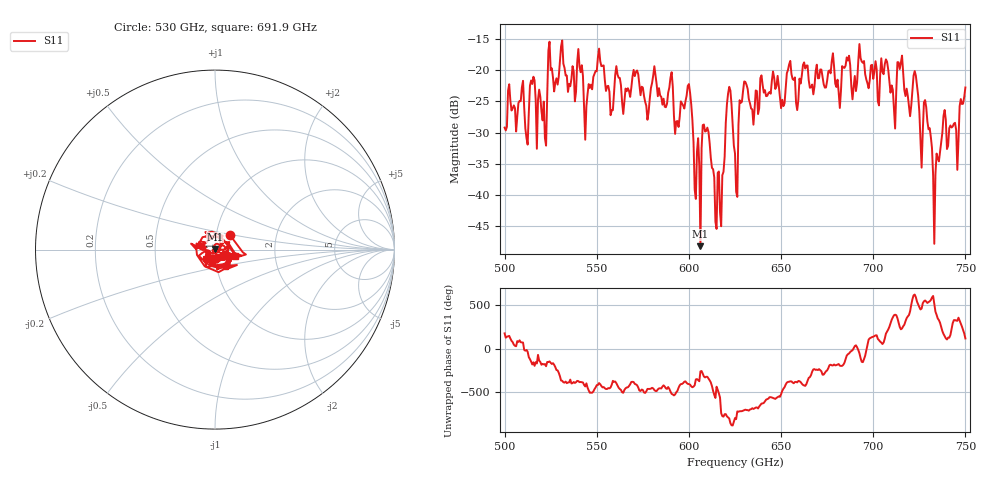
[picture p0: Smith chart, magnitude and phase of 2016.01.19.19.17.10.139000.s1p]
!Created with skrf (http://scikit-rf.org).
# GHz S RI R 50.0
!freq ReS11 ImS11
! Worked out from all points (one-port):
!   401 points, 500 GHz to 750 GHz, reference 50 ohm
!   lowest |S11| = -48.3 dB at 606.2 GHz (marker M1), VSWR 1.01, Z = 49.9 + j0.38 ohm
!   |S11| at or under -10 dB: start of sweep to end of sweep
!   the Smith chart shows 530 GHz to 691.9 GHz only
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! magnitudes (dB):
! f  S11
! 500 GHz  -29.2
! 508.8 GHz  -25.0
! 511.9 GHz  -30.9
! 515 GHz  -22.2
! 521.2 GHz  -25.0
! 524.4 GHz  -15.4
! 531.2 GHz  -15.2
! 544.4 GHz  -25.8
! 551.9 GHz  -18.5
! 562.5 GHz  -21.2
! 590 GHz  -21.2
! 593.8 GHz  -28.1
! 600 GHz  -22.2
! 606.2 GHz  -48.3
! 609.4 GHz  -29.8
! 616.2 GHz  -36.3
! 621.9 GHz  -22.6
! 625 GHz  -33.4
! 630.6 GHz  -21.9
! 656.2 GHz  -21.4
! 687.5 GHz  -19.2
! 710.6 GHz  -23.1
! 714.4 GHz  -19.8
! 718.8 GHz  -24.1
! 723.1 GHz  -20.9
! 733.8 GHz  -36.7
! 738.1 GHz  -27.3
! 750 GHz  -22.7
